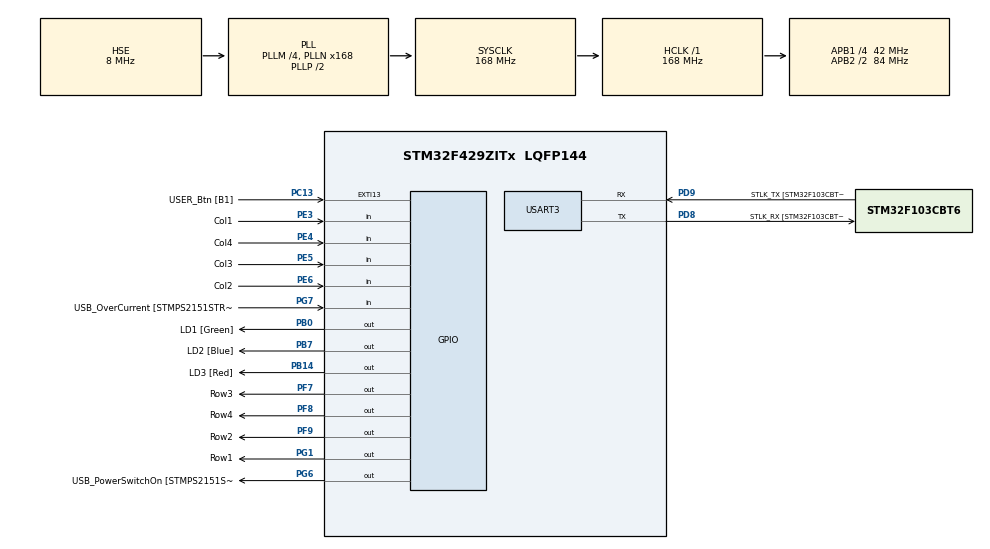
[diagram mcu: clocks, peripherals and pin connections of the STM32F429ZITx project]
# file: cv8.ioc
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Mcu.Family=STM32F4
Mcu.Name=STM32F429ZITx
Mcu.Package=LQFP144
NVIC.PriorityGroup=NVIC_PRIORITYGROUP_4
NVIC.TIM3_IRQn=true\:0\:0\:false\:false\:true\:true\:true\:true
PA1.GPIO_Label=RMII_REF_CLK [LAN8742A-CZ-TR_REFCLK0]
PA1.Signal=ETH_REF_CLK
PA10.GPIO_Label=USB_ID
PA10.Signal=USB_OTG_FS_ID
PA11.GPIO_Label=USB_DM
PA11.Signal=USB_OTG_FS_DM
PA12.GPIO_Label=USB_DP
PA12.Signal=USB_OTG_FS_DP
PA13.GPIO_Label=TMS
PA13.Mode=Serial_Wire
PA13.Signal=SYS_JTMS-SWDIO
PA14.GPIO_Label=TCK
PA14.Mode=Serial_Wire
PA14.Signal=SYS_JTCK-SWCLK
PA2.GPIO_Label=RMII_MDIO [LAN8742A-CZ-TR_MDIO]
PA2.Signal=ETH_MDIO
PA7.GPIO_Label=RMII_CRS_DV [LAN8742A-CZ-TR_CRS_DV]
PA7.Signal=ETH_CRS_DV
PA8.GPIO_Label=USB_SOF [TP1]
PA8.Signal=USB_OTG_FS_SOF
PA9.GPIO_Label=USB_VBUS
PA9.Signal=USB_OTG_FS_VBUS
PB0.GPIO_Label=LD1 [Green]
PB0.Signal=GPIO_Output
PB13.GPIO_Label=RMII_TXD1 [LAN8742A-CZ-TR_TXD1]
PB13.Signal=ETH_TXD1
PB14.GPIO_Label=LD3 [Red]
PB14.Signal=GPIO_Output
PB7.GPIO_Label=LD2 [Blue]
PB7.Signal=GPIO_Output
PC1.GPIO_Label=RMII_MDC [LAN8742A-CZ-TR_MDC]
PC1.Signal=ETH_MDC
PC13.GPIO_Label=USER_Btn [B1]
PC13.Signal=GPXTI13
PC14/OSC32_IN.Mode=LSE-External-Oscillator
PC14/OSC32_IN.Signal=RCC_OSC32_IN
PC15/OSC32_OUT.Mode=LSE-External-Oscillator
PC15/OSC32_OUT.Signal=RCC_OSC32_OUT
PC4.GPIO_Label=RMII_RXD0 [LAN8742A-CZ-TR_RXD0]
PC4.Signal=ETH_RXD0
PC5.GPIO_Label=RMII_RXD1 [LAN8742A-CZ-TR_RXD1]
PC5.Signal=ETH_RXD1
PD8.GPIO_Label=STLK_RX [STM32F103CBT6_PA3]
PD8.Mode=Asynchronous
PD8.Signal=USART3_TX
PD9.GPIO_Label=STLK_TX [STM32F103CBT6_PA2]
PD9.Mode=Asynchronous
PD9.Signal=USART3_RX
PE3.GPIO_Label=Col1
PE3.GPIO_PuPd=GPIO_PULLUP
PE3.Signal=GPIO_Input
PE4.GPIO_Label=Col4
PE4.GPIO_PuPd=GPIO_PULLUP
PE4.Signal=GPIO_Input
PE5.GPIO_Label=Col3
PE5.GPIO_PuPd=GPIO_PULLUP
PE5.Signal=GPIO_Input
PE6.GPIO_Label=Col2
PE6.GPIO_PuPd=GPIO_PULLUP
PE6.Signal=GPIO_Input
PF7.GPIO_Label=Row3
PF7.GPIO_ModeDefaultOutputPP=GPIO_MODE_OUTPUT_OD
PF7.GPIO_PuPd=GPIO_NOPULL
PF7.Signal=GPIO_Output
PF8.GPIO_Label=Row4
PF8.GPIO_ModeDefaultOutputPP=GPIO_MODE_OUTPUT_OD
PF8.GPIO_PuPd=GPIO_NOPULL
PF8.Signal=GPIO_Output
PF9.GPIO_Label=Row2
PF9.GPIO_ModeDefaultOutputPP=GPIO_MODE_OUTPUT_OD
PF9.GPIO_PuPd=GPIO_NOPULL
PF9.Signal=GPIO_Output
PG1.GPIO_Label=Row1
PG1.GPIO_ModeDefaultOutputPP=GPIO_MODE_OUTPUT_OD
PG1.GPIO_PuPd=GPIO_NOPULL
PG1.Signal=GPIO_Output
PG11.GPIO_Label=RMII_TX_EN [LAN8742A-CZ-TR_TXEN]
PG11.Signal=ETH_TX_EN
PG13.GPIO_Label=RMII_TXD0 [LAN8742A-CZ-TR_TXD0]
PG13.Signal=ETH_TXD0
PG6.GPIO_Label=USB_PowerSwitchOn [STMPS2151STR_EN]
PG6.Signal=GPIO_Output
PG7.GPIO_Label=USB_OverCurrent [STMPS2151STR_FAULT]
PG7.Signal=GPIO_Input
PH0/OSC_IN.GPIO_Label=MCO [STM32F103CBT6_PA8]
PH0/OSC_IN.Mode=HSE-External-Clock-Source
PH0/OSC_IN.Signal=RCC_OSC_IN
PH1/OSC_OUT.Mode=HSE-External-Clock-Source
PH1/OSC_OUT.Signal=RCC_OSC_OUT
ProjectManager.HeapSize=0x200
ProjectManager.StackSize=0x400
ProjectManager.TargetToolchain=STM32CubeIDE
RCC.48MHZClocksFreq_Value=48000000
RCC.AHBFreq_Value=168000000
RCC.APB1CLKDivider=RCC_HCLK_DIV4
RCC.APB1Freq_Value=42000000
RCC.APB1TimFreq_Value=84000000
RCC.APB2CLKDivider=RCC_HCLK_DIV2
RCC.APB2Freq_Value=84000000
RCC.APB2TimCLKDivider=2
RCC.APB2TimFreq_Value=168000000
RCC.CortexFreq_Value=168000000
RCC.HCLKFreq_Value=168000000
RCC.HSE_VALUE=8000000
RCC.HSI_VALUE=16000000
RCC.PLLM=4
RCC.PLLMUL=RCC_PLL_MUL9
RCC.PLLN=168
RCC.PLLQ=7
RCC.PLLSourceVirtual=RCC_PLLSOURCE_HSE
RCC.PRESCALERUSB=RCC_USBCLKSOURCE_PLL_DIV1_5
RCC.SYSCLKFreq_VALUE=168000000
RCC.SYSCLKSource=RCC_SYSCLKSOURCE_PLLCLK
RCC.SYSCLKSourceVirtual=RCC_SYSCLKSOURCE_PLLCLK
RCC.USBFreq_Value=48000000
RCC.VCOOutputFreq_Value=336000000
TIM3.AutoReloadPreload=TIM_AUTORELOAD_PRELOAD_ENABLE
TIM3.Period=99
TIM3.Prescaler=8399
USART3.VirtualMode=VM_ASYNC
VP_TIM3_VS_ClockSourceINT.Mode=Internal
board=NUCLEO-F429ZI

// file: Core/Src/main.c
/* USER CODE BEGIN Header */
/**
 ******************************************************************************
 * @file           : main.c
 * @brief          : Main program body
 ******************************************************************************
 * @attention
 *
 * Copyright (c) 2024 STMicroelectronics.
 * All rights reserved.
 *
 * This software is licensed under terms that can be found in the LICENSE file
 * in the root directory of this software component.
 * If no LICENSE file comes with this software, it is provided AS-IS.
 *
 ******************************************************************************
 */
/* USER CODE END Header */
#include "main.h"

/* USER CODE BEGIN Includes */
#include <stdio.h>
/* USER CODE END Includes */

/* USER CODE BEGIN PD */
#define DELAY 5000
/* USER CODE END PD */

TIM_HandleTypeDef htim3;

UART_HandleTypeDef huart3;

/* USER CODE BEGIN PV */
static volatile char key;
static const char password[] = {'7','9','3','2','#'};

/* USER CODE END PV */

void SystemClock_Config(void);
static void MX_GPIO_Init(void);
static void MX_USART3_UART_Init(void);
static void MX_TIM3_Init(void);

/* USER CODE BEGIN 0 */
int __io_putchar(int ch)
{
	ITM_SendChar(ch);
	return 0;
}

/* USER CODE END 0 */

int main(void)
{

  /* MCU Configuration--------------------------------------------------------*/

  /* Reset of all peripherals, Initializes the Flash interface and the Systick. */
  HAL_Init();

  /* Configure the system clock */
  SystemClock_Config();

  /* Initialize all configured peripherals */
  MX_GPIO_Init();
  MX_USART3_UART_Init();
  MX_TIM3_Init();
  /* USER CODE BEGIN 2 */
	HAL_TIM_Base_Start_IT(&htim3);
	HAL_Delay(100);
	  printf("Ready\n");
	  uint32_t lastPress = 0;
	  uint8_t keyPressed = 0;
  /* USER CODE END 2 */

  /* Infinite loop */
  /* USER CODE BEGIN WHILE */
	while (1)
	{
		/*HAL_GPIO_TogglePin(LD1_GPIO_Port, LD1_Pin);
		HAL_Delay(250);
		printf("Hello World!\n");*/

		  static uint8_t correct_pos;

		  	  if (key != 0) {
		  		  keyPressed = 1;
		  		  lastPress = HAL_GetTick();
		  		  printf("Pressed '%c'\n", key);
		  		  HAL_Delay(200);

		  		  if(key == password[correct_pos]){
		  			  correct_pos++;
		  		  }
		  		  else{
		  			  printf("Incorrect Password \n");
		  			  correct_pos = 0;
		  			  HAL_Delay(500);
		  		  }

		  		  if(correct_pos >= sizeof(password)){
		  			  HAL_GPIO_WritePin(LD1_GPIO_Port, LD1_Pin,1);
		  			  printf("Correct Password \n");
		  			  HAL_Delay(500);
		  			  HAL_GPIO_WritePin(LD1_GPIO_Port, LD1_Pin,0);
		  			  correct_pos = 0;
		  			  keyPressed = 0;
		  		  }
		  		  key = 0;
		  	  }
		  	  uint32_t now = HAL_GetTick();
		  	  if((now >(lastPress+DELAY)) && keyPressed && correct_pos >= 1){
		  		  printf("Timeout \n");
		  		  keyPressed = 0;
		  		  correct_pos = 0;

		  	  }
    /* USER CODE END WHILE */

	}
}

void SystemClock_Config(void)
{
  RCC_OscInitTypeDef RCC_OscInitStruct = {0};
  RCC_ClkInitTypeDef RCC_ClkInitStruct = {0};

  /** Configure the main internal regulator output voltage
  */
  __HAL_RCC_PWR_CLK_ENABLE();
  __HAL_PWR_VOLTAGESCALING_CONFIG(PWR_REGULATOR_VOLTAGE_SCALE1);

  /** Initializes the RCC Oscillators according to the specified parameters
  * in the RCC_OscInitTypeDef structure.
  */
  RCC_OscInitStruct.OscillatorType = RCC_OSCILLATORTYPE_HSE;
  RCC_OscInitStruct.HSEState = RCC_HSE_BYPASS;
  RCC_OscInitStruct.PLL.PLLState = RCC_PLL_ON;
  RCC_OscInitStruct.PLL.PLLSource = RCC_PLLSOURCE_HSE;
  RCC_OscInitStruct.PLL.PLLM = 4;
  RCC_OscInitStruct.PLL.PLLN = 168;
  RCC_OscInitStruct.PLL.PLLP = RCC_PLLP_DIV2;
  RCC_OscInitStruct.PLL.PLLQ = 7;
  if (HAL_RCC_OscConfig(&RCC_OscInitStruct) != HAL_OK)
  {
    Error_Handler();
  }

  /** Initializes the CPU, AHB and APB buses clocks
  */
  RCC_ClkInitStruct.ClockType = RCC_CLOCKTYPE_HCLK|RCC_CLOCKTYPE_SYSCLK
                              |RCC_CLOCKTYPE_PCLK1|RCC_CLOCKTYPE_PCLK2;
  RCC_ClkInitStruct.SYSCLKSource = RCC_SYSCLKSOURCE_PLLCLK;
  RCC_ClkInitStruct.AHBCLKDivider = RCC_SYSCLK_DIV1;
  RCC_ClkInitStruct.APB1CLKDivider = RCC_HCLK_DIV4;
  RCC_ClkInitStruct.APB2CLKDivider = RCC_HCLK_DIV2;

  if (HAL_RCC_ClockConfig(&RCC_ClkInitStruct, FLASH_LATENCY_5) != HAL_OK)
  {
    Error_Handler();
  }
}

static void MX_TIM3_Init(void)
{

  TIM_ClockConfigTypeDef sClockSourceConfig = {0};
  TIM_MasterConfigTypeDef sMasterConfig = {0};

  htim3.Instance = TIM3;
  htim3.Init.Prescaler = 8399;
  htim3.Init.CounterMode = TIM_COUNTERMODE_UP;
  htim3.Init.Period = 99;
  htim3.Init.ClockDivision = TIM_CLOCKDIVISION_DIV1;
  htim3.Init.AutoReloadPreload = TIM_AUTORELOAD_PRELOAD_ENABLE;
  if (HAL_TIM_Base_Init(&htim3) != HAL_OK)
  {
    Error_Handler();
  }
  sClockSourceConfig.ClockSource = TIM_CLOCKSOURCE_INTERNAL;
  if (HAL_TIM_ConfigClockSource(&htim3, &sClockSourceConfig) != HAL_OK)
  {
    Error_Handler();
  }
  sMasterConfig.MasterOutputTrigger = TIM_TRGO_RESET;
  sMasterConfig.MasterSlaveMode = TIM_MASTERSLAVEMODE_DISABLE;
  if (HAL_TIMEx_MasterConfigSynchronization(&htim3, &sMasterConfig) != HAL_OK)
  {
    Error_Handler();
  }

}

static void MX_USART3_UART_Init(void)
{

  huart3.Instance = USART3;
  huart3.Init.BaudRate = 115200;
  huart3.Init.WordLength = UART_WORDLENGTH_8B;
  huart3.Init.StopBits = UART_STOPBITS_1;
  huart3.Init.Parity = UART_PARITY_NONE;
  huart3.Init.Mode = UART_MODE_TX_RX;
  huart3.Init.HwFlowCtl = UART_HWCONTROL_NONE;
  huart3.Init.OverSampling = UART_OVERSAMPLING_16;
  if (HAL_UART_Init(&huart3) != HAL_OK)
  {
    Error_Handler();
  }

}

static void MX_GPIO_Init(void)
{
  GPIO_InitTypeDef GPIO_InitStruct = {0};

  /* GPIO Ports Clock Enable */
  __HAL_RCC_GPIOE_CLK_ENABLE();
  __HAL_RCC_GPIOC_CLK_ENABLE();
  __HAL_RCC_GPIOF_CLK_ENABLE();
  __HAL_RCC_GPIOH_CLK_ENABLE();
  __HAL_RCC_GPIOA_CLK_ENABLE();
  __HAL_RCC_GPIOB_CLK_ENABLE();
  __HAL_RCC_GPIOG_CLK_ENABLE();
  __HAL_RCC_GPIOD_CLK_ENABLE();

  /*Configure GPIO pin Output Level */
  HAL_GPIO_WritePin(GPIOF, Row3_Pin|Row4_Pin|Row2_Pin, GPIO_PIN_RESET);

  /*Configure GPIO pin Output Level */
  HAL_GPIO_WritePin(GPIOB, LD1_Pin|LD3_Pin|LD2_Pin, GPIO_PIN_RESET);

  /*Configure GPIO pin Output Level */
  HAL_GPIO_WritePin(GPIOG, Row1_Pin|USB_PowerSwitchOn_Pin, GPIO_PIN_RESET);

  /*Configure GPIO pins : Col1_Pin Col4_Pin Col3_Pin Col2_Pin */
  GPIO_InitStruct.Pin = Col1_Pin|Col4_Pin|Col3_Pin|Col2_Pin;
  GPIO_InitStruct.Mode = GPIO_MODE_INPUT;
  GPIO_InitStruct.Pull = GPIO_PULLUP;
  HAL_GPIO_Init(GPIOE, &GPIO_InitStruct);

  /*Configure GPIO pin : USER_Btn_Pin */
  GPIO_InitStruct.Pin = USER_Btn_Pin;
  GPIO_InitStruct.Mode = GPIO_MODE_IT_RISING;
  GPIO_InitStruct.Pull = GPIO_NOPULL;
  HAL_GPIO_Init(USER_Btn_GPIO_Port, &GPIO_InitStruct);

  /*Configure GPIO pins : Row3_Pin Row4_Pin Row2_Pin */
  GPIO_InitStruct.Pin = Row3_Pin|Row4_Pin|Row2_Pin;
  GPIO_InitStruct.Mode = GPIO_MODE_OUTPUT_OD;
  GPIO_InitStruct.Pull = GPIO_NOPULL;
  GPIO_InitStruct.Speed = GPIO_SPEED_FREQ_LOW;
  HAL_GPIO_Init(GPIOF, &GPIO_InitStruct);

  /*Configure GPIO pins : RMII_MDC_Pin RMII_RXD0_Pin RMII_RXD1_Pin */
  GPIO_InitStruct.Pin = RMII_MDC_Pin|RMII_RXD0_Pin|RMII_RXD1_Pin;
  GPIO_InitStruct.Mode = GPIO_MODE_AF_PP;
  GPIO_InitStruct.Pull = GPIO_NOPULL;
  GPIO_InitStruct.Speed = GPIO_SPEED_FREQ_VERY_HIGH;
  GPIO_InitStruct.Alternate = GPIO_AF11_ETH;
  HAL_GPIO_Init(GPIOC, &GPIO_InitStruct);

  /*Configure GPIO pins : RMII_REF_CLK_Pin RMII_MDIO_Pin RMII_CRS_DV_Pin */
  GPIO_InitStruct.Pin = RMII_REF_CLK_Pin|RMII_MDIO_Pin|RMII_CRS_DV_Pin;
  GPIO_InitStruct.Mode = GPIO_MODE_AF_PP;
  GPIO_InitStruct.Pull = GPIO_NOPULL;
  GPIO_InitStruct.Speed = GPIO_SPEED_FREQ_VERY_HIGH;
  GPIO_InitStruct.Alternate = GPIO_AF11_ETH;
  HAL_GPIO_Init(GPIOA, &GPIO_InitStruct);

  /*Configure GPIO pins : LD1_Pin LD3_Pin LD2_Pin */
  GPIO_InitStruct.Pin = LD1_Pin|LD3_Pin|LD2_Pin;
  GPIO_InitStruct.Mode = GPIO_MODE_OUTPUT_PP;
  GPIO_InitStruct.Pull = GPIO_NOPULL;
  GPIO_InitStruct.Speed = GPIO_SPEED_FREQ_LOW;
  HAL_GPIO_Init(GPIOB, &GPIO_InitStruct);

  /*Configure GPIO pin : Row1_Pin */
  GPIO_InitStruct.Pin = Row1_Pin;
  GPIO_InitStruct.Mode = GPIO_MODE_OUTPUT_OD;
  GPIO_InitStruct.Pull = GPIO_NOPULL;
  GPIO_InitStruct.Speed = GPIO_SPEED_FREQ_LOW;
  HAL_GPIO_Init(Row1_GPIO_Port, &GPIO_InitStruct);

  /*Configure GPIO pin : RMII_TXD1_Pin */
  GPIO_InitStruct.Pin = RMII_TXD1_Pin;
  GPIO_InitStruct.Mode = GPIO_MODE_AF_PP;
  GPIO_InitStruct.Pull = GPIO_NOPULL;
  GPIO_InitStruct.Speed = GPIO_SPEED_FREQ_VERY_HIGH;
  GPIO_InitStruct.Alternate = GPIO_AF11_ETH;
  HAL_GPIO_Init(RMII_TXD1_GPIO_Port, &GPIO_InitStruct);

  /*Configure GPIO pin : USB_PowerSwitchOn_Pin */
  GPIO_InitStruct.Pin = USB_PowerSwitchOn_Pin;
  GPIO_InitStruct.Mode = GPIO_MODE_OUTPUT_PP;
  GPIO_InitStruct.Pull = GPIO_NOPULL;
  GPIO_InitStruct.Speed = GPIO_SPEED_FREQ_LOW;
  HAL_GPIO_Init(USB_PowerSwitchOn_GPIO_Port, &GPIO_InitStruct);

  /*Configure GPIO pin : USB_OverCurrent_Pin */
  GPIO_InitStruct.Pin = USB_OverCurrent_Pin;
  GPIO_InitStruct.Mode = GPIO_MODE_INPUT;
  GPIO_InitStruct.Pull = GPIO_NOPULL;
  HAL_GPIO_Init(USB_OverCurrent_GPIO_Port, &GPIO_InitStruct);

  /*Configure GPIO pins : USB_SOF_Pin USB_ID_Pin USB_DM_Pin USB_DP_Pin */
  GPIO_InitStruct.Pin = USB_SOF_Pin|USB_ID_Pin|USB_DM_Pin|USB_DP_Pin;
  GPIO_InitStruct.Mode = GPIO_MODE_AF_PP;
  GPIO_InitStruct.Pull = GPIO_NOPULL;
  GPIO_InitStruct.Speed = GPIO_SPEED_FREQ_VERY_HIGH;
  GPIO_InitStruct.Alternate = GPIO_AF10_OTG_FS;
  HAL_GPIO_Init(GPIOA, &GPIO_InitStruct);

  /*Configure GPIO pin : USB_VBUS_Pin */
  GPIO_InitStruct.Pin = USB_VBUS_Pin;
  GPIO_InitStruct.Mode = GPIO_MODE_INPUT;
  GPIO_InitStruct.Pull = GPIO_NOPULL;
  HAL_GPIO_Init(USB_VBUS_GPIO_Port, &GPIO_InitStruct);

  /*Configure GPIO pins : RMII_TX_EN_Pin RMII_TXD0_Pin */
  GPIO_InitStruct.Pin = RMII_TX_EN_Pin|RMII_TXD0_Pin;
  GPIO_InitStruct.Mode = GPIO_MODE_AF_PP;
  GPIO_InitStruct.Pull = GPIO_NOPULL;
  GPIO_InitStruct.Speed = GPIO_SPEED_FREQ_VERY_HIGH;
  GPIO_InitStruct.Alternate = GPIO_AF11_ETH;
  HAL_GPIO_Init(GPIOG, &GPIO_InitStruct);

}

/* USER CODE BEGIN 4 */
void HAL_TIM_PeriodElapsedCallback(TIM_HandleTypeDef *htim)
{
	static uint8_t row = 0;
	static const char keyboard[4][4] = {
			{ '1', '2', '3', 'A' },
			{ '4', '5', '6', 'B' },
			{ '7', '8', '9', 'C' },
			{ '*', '0', '#', 'D' },
	};

	if (key == 0) {
		if (HAL_GPIO_ReadPin(Col1_GPIO_Port, Col1_Pin) == GPIO_PIN_RESET) {
			key = keyboard[row][0];
		}
		if (HAL_GPIO_ReadPin(Col2_GPIO_Port, Col2_Pin) == GPIO_PIN_RESET) {
			key = keyboard[row][1];
		}
		if (HAL_GPIO_ReadPin(Col3_GPIO_Port, Col3_Pin) == GPIO_PIN_RESET) {
			key = keyboard[row][2];
		}
		if (HAL_GPIO_ReadPin(Col4_GPIO_Port, Col4_Pin) == GPIO_PIN_RESET) {
			key = keyboard[row][3];
		}
	}

	HAL_GPIO_WritePin(Row1_GPIO_Port, Row1_Pin, GPIO_PIN_SET);
	HAL_GPIO_WritePin(Row2_GPIO_Port, Row2_Pin, GPIO_PIN_SET);
	HAL_GPIO_WritePin(Row3_GPIO_Port, Row3_Pin, GPIO_PIN_SET);
	HAL_GPIO_WritePin(Row4_GPIO_Port, Row4_Pin, GPIO_PIN_SET);

	switch (row) {
	case 0:
		row = 1;
		HAL_GPIO_WritePin(Row2_GPIO_Port, Row2_Pin, GPIO_PIN_RESET);
		break;
	case 1:
		row = 2;
		HAL_GPIO_WritePin(Row3_GPIO_Port, Row3_Pin, GPIO_PIN_RESET);
		break;
	case 2:
		row = 3;
		HAL_GPIO_WritePin(Row4_GPIO_Port, Row4_Pin, GPIO_PIN_RESET);
		break;
	case 3:
		row = 0;
		HAL_GPIO_WritePin(Row1_GPIO_Port, Row1_Pin, GPIO_PIN_RESET);
		break;
	}
}
/* USER CODE END 4 */

void Error_Handler(void)
{
	__disable_irq();
	while (1)
	{
	}
}
